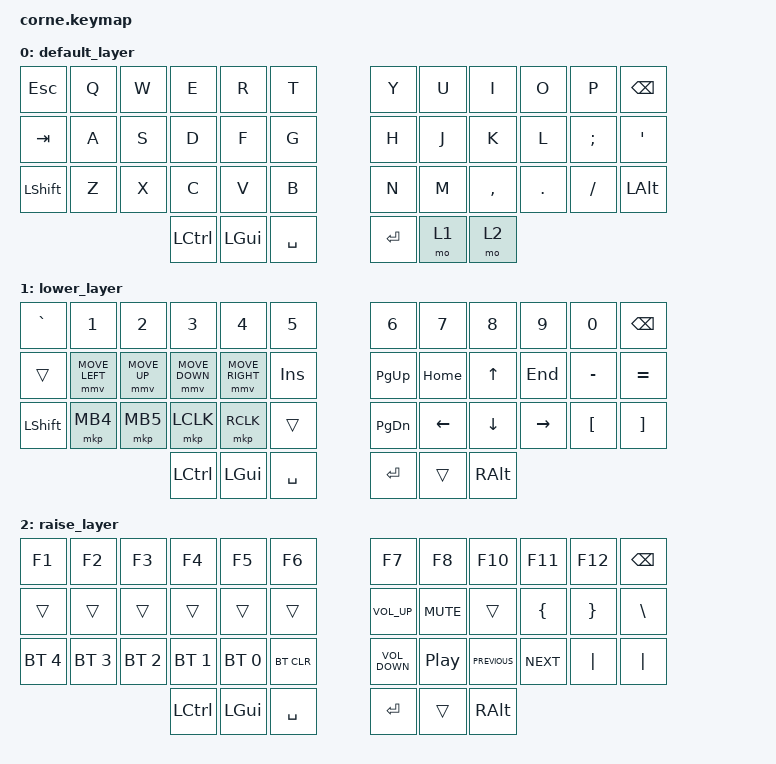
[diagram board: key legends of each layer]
/*
 * Copyright (c) 2020 The ZMK Contributors
 *
 * SPDX-License-Identifier: MIT
 */

#include <behaviors.dtsi>
#include <dt-bindings/zmk/bt.h>
#include <dt-bindings/zmk/keys.h>
#include <dt-bindings/zmk/pointing.h>

/ {
    keymap {
        compatible = "zmk,keymap";

        default_layer {
            // -----------------------------------------------------------------------------------------
            // |  TAB |  Q  |  W  |  E  |  R  |  T  |   |  Y  |  U   |  I  |  O  |  P  | BKSP |
            // | CTRL |  A  |  S  |  D  |  F  |  G  |   |  H  |  J   |  K  |  L  |  ;  |  '   |
            // | SHFT |  Z  |  X  |  C  |  V  |  B  |   |  N  |  M   |  ,  |  .  |  /  | ESC  |
            //                    | GUI | LWR | SPC |   | ENT | RSE  | ALT |

            bindings = <
&kp ESCAPE  &kp Q  &kp W  &kp E             &kp R     &kp T        &kp Y    &kp U  &kp I      &kp O    &kp P     &kp BSPC
&kp TAB     &kp A  &kp S  &kp D             &kp F     &kp G        &kp H    &kp J  &kp K      &kp L    &kp SEMI  &kp SQT
&kp LSHFT   &kp Z  &kp X  &kp C             &kp V     &kp B        &kp N    &kp M  &kp COMMA  &kp DOT  &kp FSLH  &kp LEFT_ALT
                          &kp LEFT_CONTROL  &kp LGUI  &kp SPACE    &kp RET  &mo 1  &mo 2
            >;
        };

        lower_layer {
            // -----------------------------------------------------------------------------------------
            // |  TAB |  1  |  2  |  3  |  4  |  5  |   |  6  |  7  |  8  |  9  |  0  | BKSP |
            // | BTCLR| BT1 | BT2 | BT3 | BT4 | BT5 |   | LFT | DWN |  UP | RGT |     |      |
            // | SHFT |     |     |     |     |     |   |     |     |     |     |     |      |
            //                    | GUI |     | SPC |   | ENT |     | ALT |

            bindings = <
&kp GRAVE  &kp N1          &kp N2        &kp N3          &kp N4           &kp N5        &kp N6         &kp N7          &kp N8          &kp N9     &kp N0     &kp BSPC
&trans     &mmv MOVE_LEFT  &mmv MOVE_UP  &mmv MOVE_DOWN  &mmv MOVE_RIGHT  &kp INSERT    &kp PAGE_UP    &kp HOME        &kp UP          &kp END    &kp MINUS  &kp EQUAL
&kp LSHFT  &mkp MB4        &mkp MB5      &mkp LCLK       &mkp RCLK        &trans        &kp PAGE_DOWN  &kp LEFT_ARROW  &kp DOWN_ARROW  &kp RIGHT  &kp LBKT   &kp RBKT
                                         &kp LCTRL       &kp LGUI         &kp SPACE     &kp RET        &trans          &kp RALT
            >;
        };

        raise_layer {
            // -----------------------------------------------------------------------------------------
            // |  TAB |  !  |  @  |  #  |  $  |  %  |   |  ^  |  &  |  *  |  (  |  )  | BKSP |
            // | CTRL |     |     |     |     |     |   |  -  |  =  |  [  |  ]  |  \  |  `   |
            // | SHFT |     |     |     |     |     |   |  _  |  +  |  {  |  }  | "|" |  ~   |
            //                    | GUI |     | SPC |   | ENT |     | ALT |

            bindings = <
&kp F1        &kp F2        &kp F3        &kp F4        &kp F5        &kp F6        &kp F7             &kp F8            &kp F10         &kp F11     &kp F12   &kp BSPC
&trans        &trans        &trans        &trans        &trans        &trans        &kp C_VOLUME_UP    &kp C_MUTE        &trans          &kp LBRC    &kp RBRC  &kp BSLH
&bt BT_SEL 4  &bt BT_SEL 3  &bt BT_SEL 2  &bt BT_SEL 1  &bt BT_SEL 0  &bt BT_CLR    &kp C_VOLUME_DOWN  &kp C_PLAY_PAUSE  &kp C_PREVIOUS  &kp C_NEXT  &kp PIPE  &kp PIPE
                                          &kp LCTRL     &kp LGUI      &kp SPACE     &kp RET            &trans            &kp RALT
            >;
        };
    };
};
